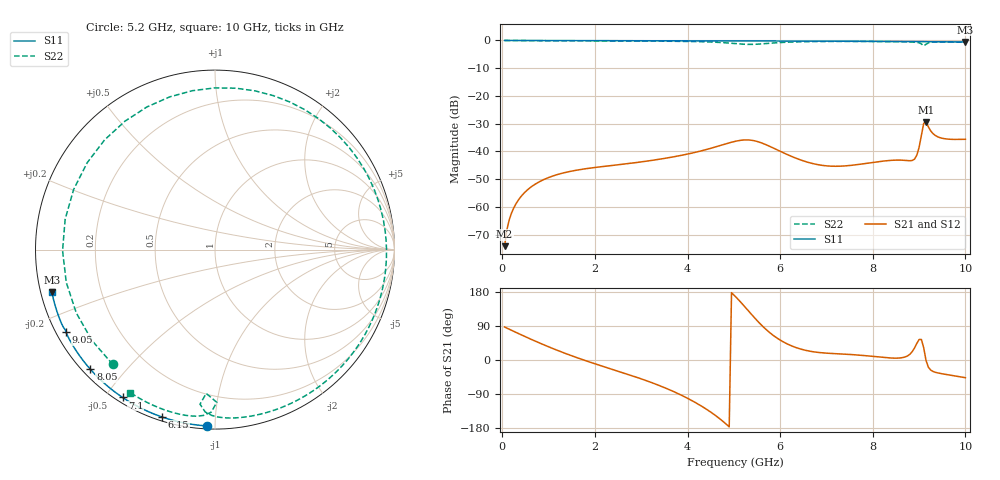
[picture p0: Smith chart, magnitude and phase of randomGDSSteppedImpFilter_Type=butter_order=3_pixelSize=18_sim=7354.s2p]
! freq	dB(S11)	phase(S11)	dB(S12)	phase(S12)
!  dB(S21)	phase(S21)	dB(S22)	phase(S22)
!S-par simulation data
#  GHz  S  DB  R 50
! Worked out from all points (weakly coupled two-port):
!   200 points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, 50 MHz to 10 GHz, reference 50 ohm
!   highest |S21| = -29.39 dB at 9.15 GHz (marker M1); lowest = -74.1 dB at 50 MHz (marker M2)
!   lowest |S11| = -0.5 dB at 10 GHz (marker M3), VSWR 32.00, Z = 1.59 - j6.37 ohm
!   |S11| at or under -10 dB: nowhere
!   |S22| runs from -1.9 to 0.0 dB; largest |S21 - S12| = 0
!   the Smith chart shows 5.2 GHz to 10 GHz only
!   S11 on the Smith chart (normalised r, x): 5.2 GHz: 0.02, -0.95; 6.15 GHz: 0.02, -0.73; 7.1 GHz: 0.02, -0.55; 8.05 GHz: 0.02, -0.40; 9.05 GHz: 0.03, -0.26; 10 GHz: 0.03, -0.13
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0.05  -0.00 -1.0  -74.15 87.0  -74.15 87.0  -0.00 -4.9
0.3  -0.01 -5.8  -58.73 72.6  -58.73 72.6  -0.04 -29.0
0.9  -0.02 -17.2  -50.11 39.9  -50.11 39.9  -0.10 -84.3
1.75  -0.04 -33.2  -46.36 0.3  -46.36 0.3  -0.16 -154.2
2.5  -0.06 -46.9  -44.81 -29.6  -44.81 -29.6  -0.20 149.9
3.4  -0.08 -62.8  -42.79 -67.8  -42.79 -67.8  -0.26 83.6
3.9  -0.10 -71.3  -41.30 -94.9  -41.30 -94.9  -0.33 43.9
4.4  -0.11 -79.7  -39.34 -129.3  -39.34 -129.3  -0.50 -3.0
4.75  -0.13 -85.4  -37.65 -160.4  -37.65 -160.4  -0.77 -46.6
5.05  -0.14 -90.3  -36.28 165.5  -36.28 165.5  -1.16 -98.8
5.2  -0.15 -92.7  -35.89 145.6  -35.89 145.6  -1.34 -131.7
5.45  -0.16 -96.7  -36.18 110.9  -36.18 110.9  -1.39 168.5
5.7  -0.17 -100.6  -37.62 80.0  -37.62 80.0  -1.10 115.5
6.15  -0.19 -107.6  -41.10 42.6  -41.10 42.6  -0.63 51.9
6.7  -0.23 -116.0  -44.36 22.0  -44.36 22.0  -0.41 6.4
7.1  -0.25 -122.0  -45.31 17.3  -45.31 17.3  -0.36 -16.9
8.05  -0.33 -136.2  -43.85 8.9  -43.85 8.9  -0.38 -58.2
8.35  -0.36 -140.6  -43.27 5.5  -43.27 5.5  -0.41 -69.2
8.9  -0.42 -148.9  -42.80 31.3  -42.80 31.3  -0.60 -89.0
9.05  -0.46 -151.1  -34.17 54.1  -34.17 54.1  -1.26 -95.5
9.15  -0.46 -152.3  -29.39 -1.2  -29.39 -1.2  -1.40 -89.3
10  -0.54 -165.5  -35.62 -46.7  -35.62 -46.7  -0.67 -120.6
